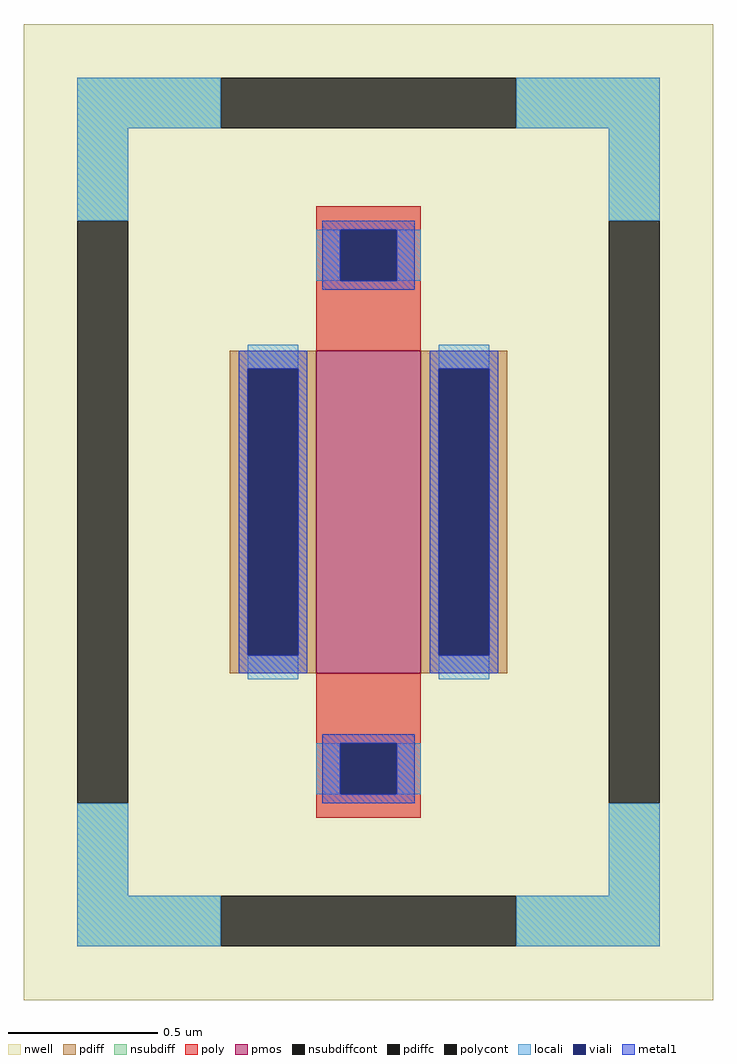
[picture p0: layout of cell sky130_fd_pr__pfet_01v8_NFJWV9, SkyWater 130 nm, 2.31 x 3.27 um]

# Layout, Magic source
magic
tech sky130A
magscale 1 2
<< nwell >>
rect -231 -327 231 327
<< pmos >>
rect -35 -108 35 108
<< pdiff >>
rect -93 96 -35 108
rect -93 -96 -81 96
rect -47 -96 -35 96
rect -93 -108 -35 -96
rect 35 96 93 108
rect 35 -96 47 96
rect 81 -96 93 96
rect 35 -108 93 -96
<< pdiffc >>
rect -81 -96 -47 96
rect 47 -96 81 96
<< nsubdiff >>
rect -195 257 -99 291
rect 99 257 195 291
rect -195 195 -161 257
rect 161 195 195 257
rect -195 -257 -161 -195
rect 161 -257 195 -195
rect -195 -291 -99 -257
rect 99 -291 195 -257
<< nsubdiffcont >>
rect -99 257 99 291
rect -195 -195 -161 195
rect 161 -195 195 195
rect -99 -291 99 -257
<< poly >>
rect -35 189 35 205
rect -35 155 -19 189
rect 19 155 35 189
rect -35 108 35 155
rect -35 -155 35 -108
rect -35 -189 -19 -155
rect 19 -189 35 -155
rect -35 -205 35 -189
<< polycont >>
rect -19 155 19 189
rect -19 -189 19 -155
<< locali >>
rect -195 257 -99 291
rect 99 257 195 291
rect -195 195 -161 257
rect 161 195 195 257
rect -35 155 -19 189
rect 19 155 35 189
rect -81 96 -47 112
rect -81 -112 -47 -96
rect 47 96 81 112
rect 47 -112 81 -96
rect -35 -189 -19 -155
rect 19 -189 35 -155
rect -195 -257 -161 -195
rect 161 -257 195 -195
rect -195 -291 -99 -257
rect 99 -291 195 -257
<< viali >>
rect -19 155 19 189
rect -81 -96 -47 96
rect 47 -96 81 96
rect -19 -189 19 -155
<< metal1 >>
rect -31 189 31 195
rect -31 155 -19 189
rect 19 155 31 189
rect -31 149 31 155
rect -87 96 -41 108
rect -87 -96 -81 96
rect -47 -96 -41 96
rect -87 -108 -41 -96
rect 41 96 87 108
rect 41 -96 47 96
rect 81 -96 87 96
rect 41 -108 87 -96
rect -31 -155 31 -149
rect -31 -189 -19 -155
rect 19 -189 31 -155
rect -31 -195 31 -189
<< properties >>
string FIXED_BBOX -178 -274 178 274
string gencell sky130_fd_pr__pfet_01v8
string library sky130
string parameters w 1.075 l 0.35 m 1 nf 1 diffcov 100 polycov 100 guard 1 glc 1 grc 1 gtc 1 gbc 1 tbcov 100 rlcov 100 topc 1 botc 1 poverlap 0 doverlap 1 lmin 0.15 wmin 0.42 compatible {sky130_fd_pr__pfet_01v8  sky130_fd_pr__pfet_01v8_lvt sky130_fd_pr__pfet_01v8_hvt  sky130_fd_pr__pfet_g5v0d10v5} full_metal 1 viasrc 100 viadrn 100 viagate 100 viagb 0 viagr 0 viagl 0 viagt 0
<< end >>
